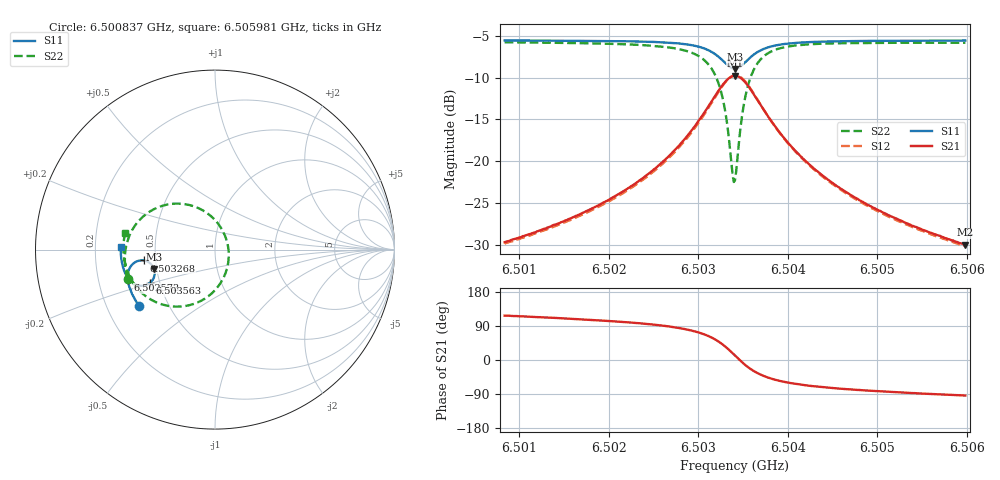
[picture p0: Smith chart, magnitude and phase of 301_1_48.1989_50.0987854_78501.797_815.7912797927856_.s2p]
#  HZ  S  RI  R  50.00
! Rohde & Schwarz Vector Network Analyzer
! Rohde-Schwarz,ZNB20-2Port,1311601062101988,3.16
! Created: UTC 3/20/2024, 11:49:34 AM
! freq[Hz]  re:S11  im:S11  re:S21  im:S21  re:S12  im:S12  re:S22  im:S22
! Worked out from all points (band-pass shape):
!   401 points, 6.500837 GHz to 6.505981 GHz, reference 50 ohm
!   highest |S21| = -9.79 dB at 6.503409 GHz (marker M1); lowest = -30.0 dB at 6.505981 GHz (marker M2)
!   |S21| within 3 dB of the highest: 6.503151 GHz to 6.503666 GHz (514.8 kHz wide, 0.00792 % of centre)
!   lowest |S11| = -9.0 dB at 6.503409 GHz (marker M3), VSWR 2.11, Z = 24.2 - j6.07 ohm
!   |S11| at or under -10 dB: nowhere
!   |S22| runs from -22.5 to -5.8 dB; largest |S21 - S12| = 0.011
!   S11 on the Smith chart (normalised r, x): 6.500837 GHz: 0.34, -0.30; 6.502573 GHz: 0.33, -0.15; 6.503268 GHz: 0.43, -0.06; 6.503563 GHz: 0.44, -0.20; 6.505981 GHz: 0.31, +0.01
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6.5008367e9  -0.421 -0.3162  -0.0149 0.0292  -0.0132 0.0293  -0.4865 -0.1644
6.5016984e9  -0.4588 -0.2536  -0.0146 0.0466  -0.0121 0.0462  -0.5014 -0.0744
6.5021743e9  -0.4759 -0.212  -0.0116 0.0657  -0.00875 0.0645  -0.4997 -0.00838
6.5025602e9  -0.4856 -0.1701  -0.00285 0.0945  0.000552 0.0923  -0.481 0.0667
6.502573e9  -0.4858 -0.1685  -0.00253 0.096  0.00113 0.0936  -0.48 0.0698
6.5028174e9  -0.4851 -0.1334  0.0156 0.1288  0.0194 0.125  -0.4417 0.1391
6.5029975e9  -0.4737 -0.1001  0.0502 0.1647  0.0534 0.1595  -0.3738 0.205
6.5031647e9  -0.4391 -0.0672  0.1274 0.1979  0.1285 0.1915  -0.2321 0.2554
6.5032676e9  -0.3968 -0.0606  0.2121 0.1888  0.2124 0.1836  -0.0846 0.2274
6.503319e9  -0.3716 -0.0691  0.2599 0.1609  0.2608 0.1564  -0.00502 0.1702
6.5033833e9  -0.3452 -0.0953  0.307 0.0979  0.3095 0.093  0.0656 0.049
6.5034091e9  -0.3389 -0.1096  0.317 0.0662  0.3201 0.0602  0.0762 -0.0103
6.5034219e9  -0.3372 -0.1172  0.3198 0.0497  0.3229 0.0432  0.0766 -0.0405
6.5034991e9  -0.3433 -0.1615  0.3025 -0.0436  0.3046 -0.0536  0.019 -0.2033
6.5035634e9  -0.3643 -0.1868  0.2605 -0.0969  0.2592 -0.1079  -0.0761 -0.2844
6.5036663e9  -0.4031 -0.2015  0.1869 -0.1325  0.1815 -0.1417  -0.2237 -0.3176
6.5038335e9  -0.4486 -0.1917  0.1067 -0.1295  0.0999 -0.1343  -0.3681 -0.2717
6.5040136e9  -0.4757 -0.1704  0.0631 -0.1097  0.0569 -0.1119  -0.4389 -0.2077
6.5042708e9  -0.4963 -0.1404  0.0334 -0.086  0.0288 -0.0865  -0.4816 -0.1363
6.5046438e9  -0.5114 -0.102  0.0151 -0.0639  0.0119 -0.0635  -0.5035 -0.0639
6.5051326e9  -0.5211 -0.057  0.00492 -0.0471  0.00265 -0.0463  -0.5099 0.00394
6.5059814e9  -0.5258 0.0145  -0.00206 -0.0316  -0.00336 -0.0308  -0.5015 0.0924
